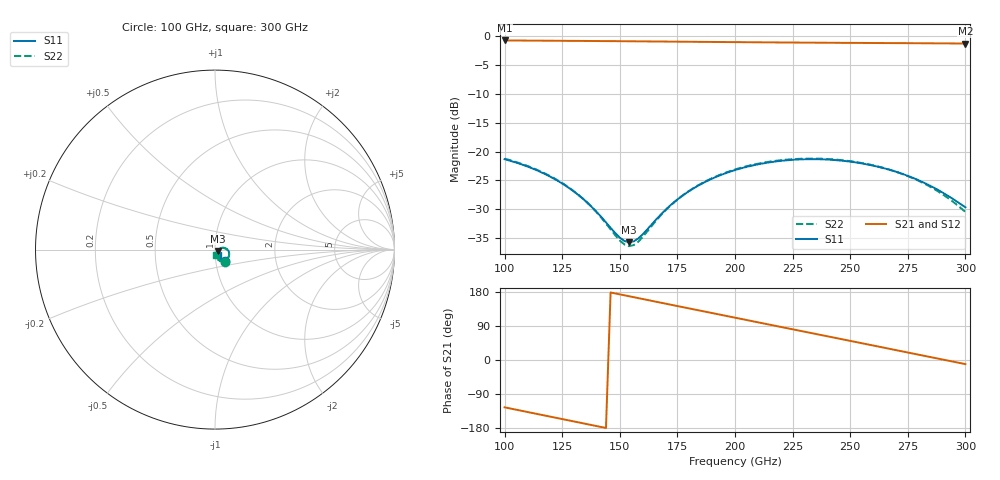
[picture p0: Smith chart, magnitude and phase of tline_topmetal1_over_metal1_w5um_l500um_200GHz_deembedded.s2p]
! Created with skrf 2.2.0 (http://scikit-rf.org).
# GHz S DB R 50.0
! Port[1] = P1
! Port[2] = P2
!freq dBS11 angS11 dBS21 angS21 dBS12 angS12 dBS22 angS22
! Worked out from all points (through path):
!   101 points, 100 GHz to 300 GHz, reference 50 ohm
!   highest |S21| = -0.70 dB at 100 GHz (marker M1); lowest = -1.2 dB at 300 GHz (marker M2)
!   group delay of S21, straight-line fit = 3.41 ps
!   lowest |S11| = -35.8 dB at 154 GHz (marker M3), VSWR 1.03, Z = 51.4 - j0.807 ohm
!   |S11| at or under -10 dB: start of sweep to end of sweep
!   |S22| runs from -36.5 to -21.2 dB; largest |S21 - S12| = 1e-13
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100  -21.34 -49.0  -0.70 -124.9  -0.70 -124.9  -21.25 -51.2
118  -24.00 -64.0  -0.74 -147.2  -0.74 -147.2  -23.91 -67.1
126  -25.81 -69.0  -0.76 -157.1  -0.76 -157.1  -25.74 -72.6
134  -28.21 -71.4  -0.78 -167.0  -0.78 -167.0  -28.19 -75.6
140  -30.52 -69.5  -0.80 -174.4  -0.80 -174.4  -30.59 -74.3
150  -34.97 -47.8  -0.82 173.2  -0.82 173.2  -35.47 -52.7
154  -35.78 -28.9  -0.84 168.3  -0.84 168.3  -36.45 -32.0
158  -35.12 -9.7  -0.85 163.3  -0.85 163.3  -35.68 -10.9
168  -30.88 12.8  -0.88 151.0  -0.88 151.0  -31.00 12.1
174  -28.66 14.9  -0.90 143.6  -0.90 143.6  -28.68 13.7
182  -26.40 12.8  -0.93 133.8  -0.93 133.8  -26.35 10.9
192  -24.38 6.6  -0.96 121.5  -0.96 121.5  -24.29 4.1
200  -23.23 0.3  -0.99 111.7  -0.99 111.7  -23.13 -2.6
208  -22.39 -6.5  -1.01 101.9  -1.01 101.9  -22.28 -9.9
216  -21.82 -13.7  -1.03 92.1  -1.03 92.1  -21.71 -17.5
224  -21.47 -21.1  -1.05 82.3  -1.05 82.3  -21.36 -25.2
234  -21.33 -30.3  -1.08 70.0  -1.08 70.0  -21.23 -34.9
250  -21.76 -44.7  -1.12 50.4  -1.12 50.4  -21.68 -50.2
268  -23.28 -59.2  -1.15 28.4  -1.15 28.4  -23.27 -66.1
284  -25.81 -68.0  -1.19 8.8  -1.19 8.8  -25.96 -76.7
292  -27.59 -68.9  -1.21 -1.1  -1.21 -1.1  -27.96 -78.9
300  -29.70 -64.8  -1.23 -10.9  -1.23 -10.9  -30.51 -75.8
